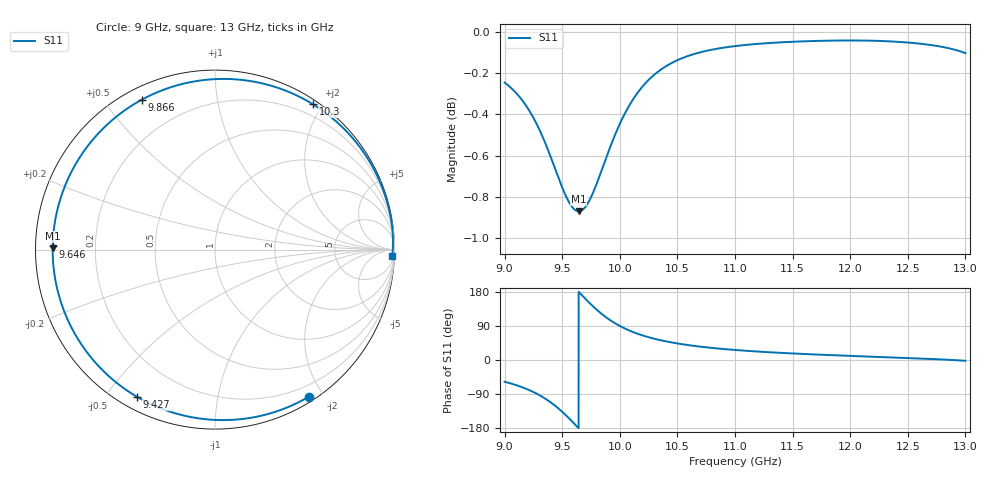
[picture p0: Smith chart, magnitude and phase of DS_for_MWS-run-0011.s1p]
! TOUCHSTONE file generated by CST DESIGN STUDIO
! Date and time: Tue Feb  4 13:46:44 2025
! Project name: C:\Work\MatlabApps\UnitCellOptimizationMatlab\CST\unitcell.cst
! Tree item: Tasks\Sweep1\SPara1\S-Parameters
! Header version: 2024
! Port assignment regex: !\s*Touchstone port\s*([0-9]+)\s*=\s*(CST MWS port|CST DES external port|CST DES block port)\s*(.+)\s* \(\"(.*)\"\)(\s*mode\s*([0-9]+))?.*
! Touchstone port assignment:
! Touchstone port 1 = CST DES external port 1 ("")
# GHz S MA R 50
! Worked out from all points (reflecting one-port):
!   4001 points, 9 GHz to 13 GHz, reference 50 ohm
!   lowest |S11| = -0.9 dB at 9.644 GHz (marker M1), VSWR 19.96, Z = 2.51 + j0.199 ohm
!   phase of S11 starts at -57 deg and turns -305 deg over the sweep
!   S11 on the Smith chart (normalised r, x): 9 GHz: 0.06, -1.82; 9.427 GHz: 0.05, -0.60; 9.646 GHz: 0.05, +0.01; 9.866 GHz: 0.05, +0.62; 10.3 GHz: 0.05, +1.88; 13 GHz: 16, -50
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9  0.9721 -57.4
9.108  0.9659 -67.1
9.216  0.9568 -79.7
9.333  0.9426 -98.2
9.382  0.9354 -107.9
9.427  0.9282 -117.9
9.5  0.9167 -136.6
9.577  0.9075 -159.3
9.611  0.9053 -169.9
9.644  0.9046 179.5
9.646  0.9046 178.9
9.702  0.9068 161.2
9.764  0.9135 142.6
9.815  0.9211 128.6
9.866  0.9295 116.0
9.929  0.9397 102.6
10  0.9499 89.8
10.069  0.9583 79.6
10.141  0.9655 70.8
10.218  0.9715 62.9
10.301  0.9765 56.0
10.5  0.9844 43.7
10.719  0.9891 34.5
11  0.9922 26.5
11.5  0.9946 17.2
12  0.9953 10.9
12.5  0.9942 5.3
13  0.9883 -2.1
